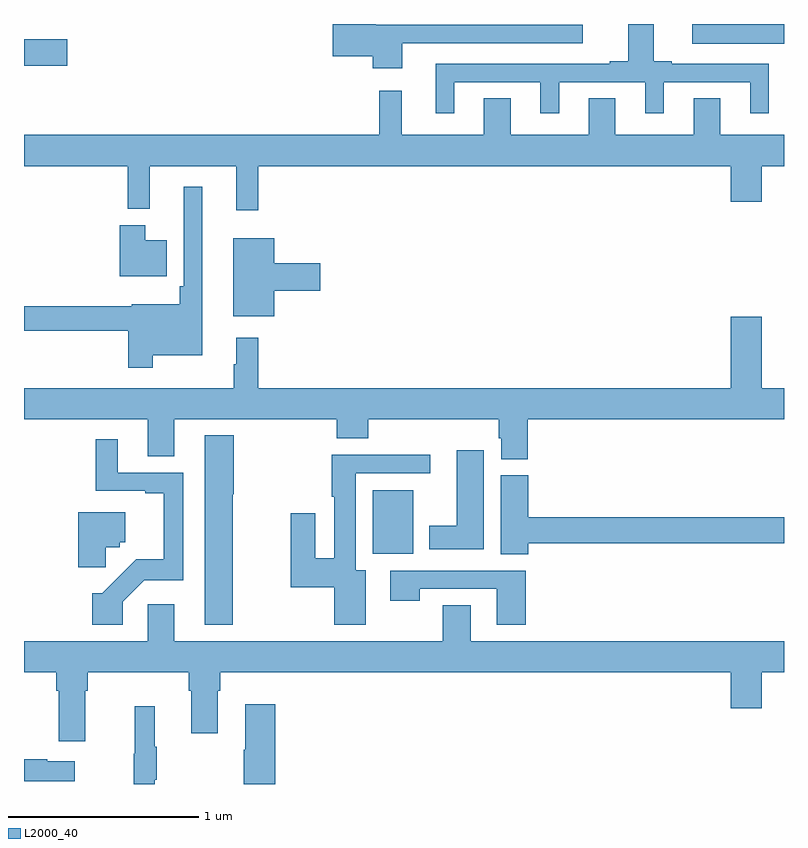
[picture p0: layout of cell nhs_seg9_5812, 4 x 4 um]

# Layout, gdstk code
import gdstk
lib = gdstk.Library(unit=1e-6, precision=1e-09)
def R(c, l, rs):  # rectangles x0, y0, x1, y1
    for r in rs: c.add(gdstk.rectangle(r[:2], r[2:], *l))
def P(c, l, *ps):  # polygons
    for p in ps: c.add(gdstk.Polygon(p, *l))
L2000_40 = (2000, 40)

nhs_seg9_5812 = lib.new_cell('nhs_seg9_5812')
R(nhs_seg9_5812, L2000_40, [(450.836,1195.712,451.048,1196.047), (449,1198.279,449.227,1198.421), (452.517,1198.397,453,1198.5)])
P(nhs_seg9_5812, L2000_40, [(451.264,1198.194),(451.718,1198.194),(451.718,1198.029),(451.816,1198.029),(451.816,1198.194),(452.27,1198.194),(452.27,1198.029),(452.368,1198.029),(452.368,1198.194),(452.822,1198.194),(452.822,1198.029),(452.92,1198.029),(452.92,1198.29),(452.41,1198.29),(452.41,1198.303),(452.314,1198.303),(452.314,1198.5),(452.18,1198.5),(452.18,1198.303),(452.084,1198.303),(452.084,1198.29),(451.166,1198.29),(451.166,1198.029),(451.264,1198.029)],
  [(450.991,1198.398),(451.942,1198.398),(451.942,1198.495),(450.852,1198.495),(450.852,1198.5),(450.624,1198.5),(450.624,1198.33),(450.836,1198.33),(450.836,1198.266),(450.991,1198.266)],
  [(450.233,1197.752),(452.72,1197.752),(452.72,1197.564),(452.884,1197.564),(452.884,1197.752),(453,1197.752),(453,1197.916),(452.665,1197.916),(452.665,1198.109),(452.525,1198.109),(452.525,1197.916),(452.113,1197.916),(452.113,1198.109),(451.973,1198.109),(451.973,1197.916),(451.561,1197.916),(451.561,1198.109),(451.421,1198.109),(451.421,1197.916),(450.989,1197.916),(450.989,1198.15),(450.871,1198.15),(450.871,1197.916),(449,1197.916),(449,1197.752),(449.545,1197.752),(449.545,1197.527),(449.663,1197.527),(449.663,1197.752),(450.116,1197.752),(450.116,1197.519),(450.233,1197.519)],
  [(449.677,1196.756),(449.938,1196.756),(449.938,1197.643),(449.841,1197.643),(449.841,1197.121),(449.821,1197.121),(449.821,1197.025),(449.567,1197.025),(449.567,1197.014),(449,1197.014),(449,1196.886),(449.548,1196.886),(449.548,1196.691),(449.677,1196.691)],
  [(449.752,1197.361),(449.638,1197.361),(449.638,1197.442),(449.504,1197.442),(449.504,1197.173),(449.752,1197.173)],
  [(450.316,1197.095),(450.559,1197.095),(450.559,1197.242),(450.316,1197.242),(450.316,1197.373),(450.101,1197.373),(450.101,1196.963),(450.316,1196.963)],
  [(450.233,1196.848),(450.116,1196.848),(450.116,1196.708),(450.105,1196.708),(450.105,1196.584),(449,1196.584),(449,1196.42),(449.651,1196.42),(449.651,1196.226),(449.791,1196.226),(449.791,1196.42),(450.647,1196.42),(450.647,1196.321),(450.812,1196.321),(450.812,1196.42),(451.499,1196.42),(451.499,1196.319),(451.511,1196.319),(451.511,1196.209),(451.652,1196.209),(451.652,1196.42),(453,1196.42),(453,1196.584),(452.884,1196.584),(452.884,1196.959),(452.72,1196.959),(452.72,1196.584),(450.233,1196.584)],
  [(450.099,1196.025),(450.104,1196.025),(450.104,1196.335),(449.951,1196.335),(449.951,1195.337),(450.099,1195.337)],
  [(449.52,1195.458),(449.634,1195.572),(449.839,1195.572),(449.839,1196.139),(449.494,1196.139),(449.494,1196.314),(449.377,1196.314),(449.377,1196.043),(449.639,1196.043),(449.639,1196.031),(449.735,1196.031),(449.735,1195.682),(449.591,1195.682),(449.413,1195.504),(449.36,1195.504),(449.36,1195.338),(449.52,1195.338)],
  [(451.42,1196.257),(451.277,1196.257),(451.277,1195.858),(451.133,1195.858),(451.133,1195.736),(451.42,1195.736)],
  [(450.799,1195.624),(450.745,1195.624),(450.745,1196.136),(451.138,1196.136),(451.138,1196.234),(450.62,1196.234),(450.62,1196.011),(450.632,1196.011),(450.632,1195.688),(450.532,1195.688),(450.532,1195.924),(450.403,1195.924),(450.403,1195.535),(450.632,1195.535),(450.632,1195.338),(450.799,1195.338)],
  [(451.655,1195.768),(453,1195.768),(453,1195.904),(451.655,1195.904),(451.655,1196.124),(451.508,1196.124),(451.508,1195.708),(451.655,1195.708)],
  [(449.429,1195.746),(449.505,1195.746),(449.505,1195.773),(449.533,1195.773),(449.533,1195.93),(449.285,1195.93),(449.285,1195.641),(449.429,1195.641)],
  [(451.64,1195.623),(450.927,1195.623),(450.927,1195.464),(451.083,1195.464),(451.083,1195.527),(451.487,1195.527),(451.487,1195.338),(451.64,1195.338)],
  [(449,1195.088),(449.171,1195.088),(449.171,1194.992),(449.183,1194.992),(449.183,1194.726),(449.323,1194.726),(449.323,1194.992),(449.336,1194.992),(449.336,1195.088),(449.867,1195.088),(449.867,1194.992),(449.879,1194.992),(449.879,1194.768),(450.019,1194.768),(450.019,1194.992),(450.032,1194.992),(450.032,1195.088),(452.72,1195.088),(452.72,1194.9),(452.884,1194.9),(452.884,1195.088),(453,1195.088),(453,1195.252),(451.351,1195.252),(451.351,1195.442),(451.204,1195.442),(451.204,1195.252),(449.791,1195.252),(449.791,1195.447),(449.652,1195.447),(449.652,1195.252),(449,1195.252)],
  [(450.323,1194.919),(450.164,1194.919),(450.164,1194.68),(450.157,1194.68),(450.157,1194.5),(450.323,1194.5)],
  [(449.687,1194.523),(449.698,1194.523),(449.698,1194.697),(449.687,1194.697),(449.687,1194.91),(449.584,1194.91),(449.584,1194.66),(449.577,1194.66),(449.577,1194.5),(449.687,1194.5)],
  [(449.266,1194.619),(449.123,1194.619),(449.123,1194.629),(449,1194.629),(449,1194.515),(449.266,1194.515)])

lib.write_gds('nhs_seg9_5812.gds')
